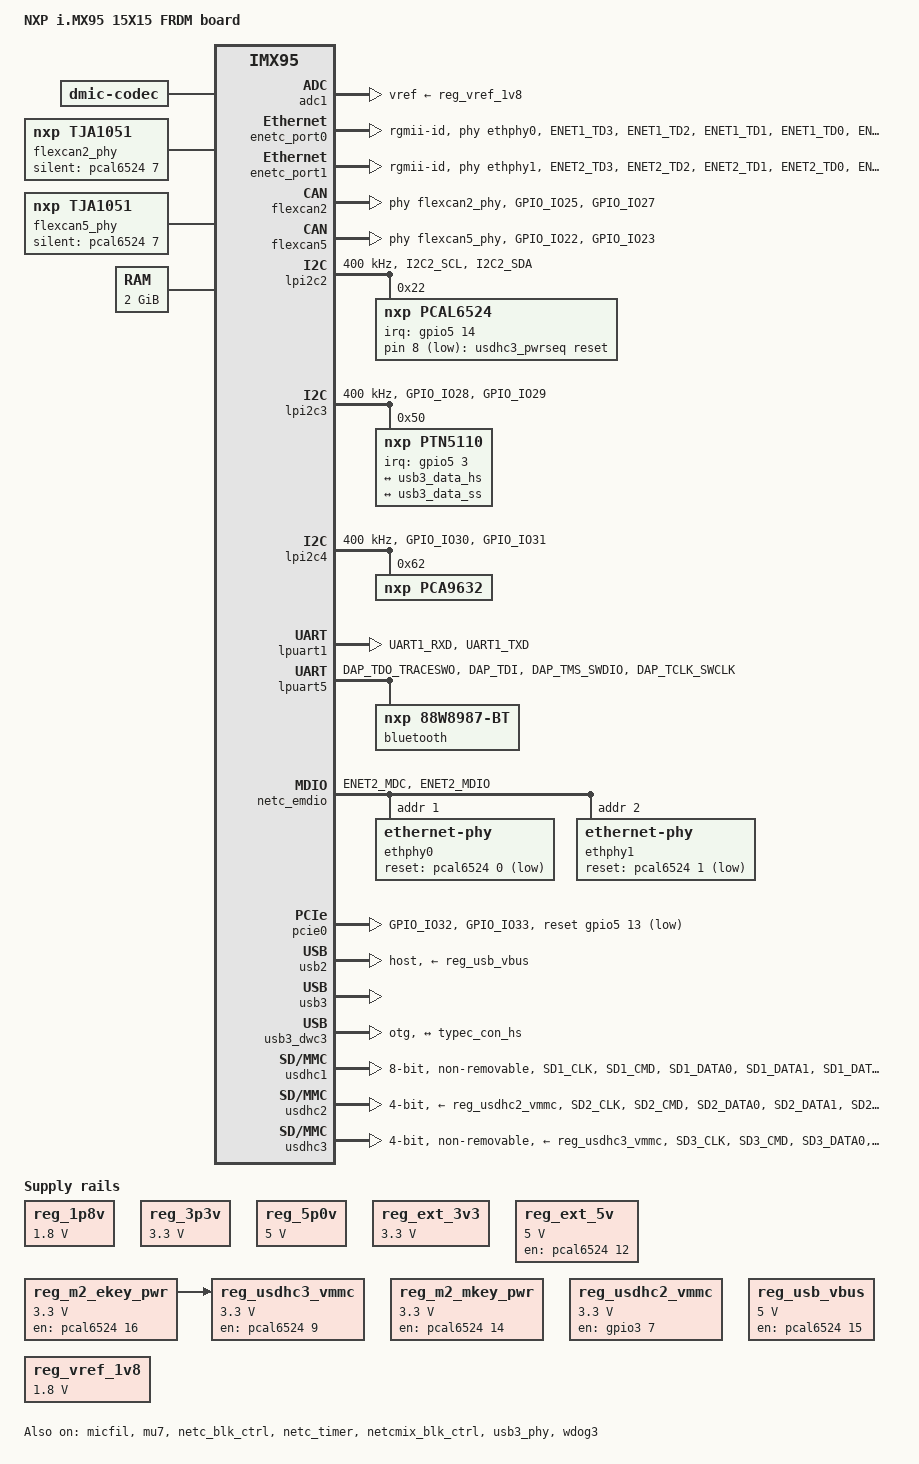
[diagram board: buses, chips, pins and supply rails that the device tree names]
// SPDX-License-Identifier: (GPL-2.0+ OR MIT)
/*
 * Copyright 2025 NXP
 */

/dts-v1/;

#include <dt-bindings/leds/common.h>
#include <dt-bindings/phy/phy-imx8-pcie.h>
#include <dt-bindings/pwm/pwm.h>
#include <dt-bindings/usb/pd.h>
#include "imx95.dtsi"

#define BRD_SM_CTRL_SD3_WAKE		0x8000	/*!< PCAL6408A-0 */
#define BRD_SM_CTRL_PCIE1_WAKE		0x8001	/*!< PCAL6408A-4 */
#define BRD_SM_CTRL_BT_WAKE		0x8002	/*!< PCAL6408A-5 */
#define BRD_SM_CTRL_PCIE2_WAKE		0x8003	/*!< PCAL6408A-6 */
#define BRD_SM_CTRL_BUTTON		0x8004	/*!< PCAL6408A-7 */

/ {
	compatible = "fsl,imx95-15x15-frdm", "fsl,imx95";
	model = "NXP i.MX95 15X15 FRDM board";

	aliases {
		ethernet0 = &enetc_port0;
		ethernet1 = &enetc_port1;
		gpio0 = &gpio1;
		gpio1 = &gpio2;
		gpio2 = &gpio3;
		gpio3 = &gpio4;
		gpio4 = &gpio5;
		i2c0 = &lpi2c1;
		i2c1 = &lpi2c2;
		i2c2 = &lpi2c3;
		i2c3 = &lpi2c4;
		i2c4 = &lpi2c5;
		i2c5 = &lpi2c6;
		i2c6 = &lpi2c7;
		i2c7 = &lpi2c8;
		mmc0 = &usdhc1;
		mmc1 = &usdhc2;
		mmc2 = &usdhc3;
		serial0 = &lpuart1;
		serial4 = &lpuart5;
	};

	chosen {
		#address-cells = <2>;
		#size-cells = <2>;
		stdout-path = &lpuart1;
	};

	dmic: dmic {
		compatible = "dmic-codec";
		#sound-dai-cells = <0>;
		num-channels = <2>;
	};

	flexcan2_phy: can-phy {
		compatible = "nxp,tja1051";
		#phy-cells = <0>;
		max-bitrate = <5000000>;
		/*
		 * Shared SILENT GPIO: CAN PHYs enter silent mode
		 * together (hardware design).
		 */
		silent-gpios = <&pcal6524 7 GPIO_ACTIVE_HIGH>;
	};

	flexcan5_phy: can-phy {
		compatible = "nxp,tja1051";
		#phy-cells = <0>;
		max-bitrate = <5000000>;
		silent-gpios = <&pcal6524 7 GPIO_ACTIVE_HIGH>;
	};

	reg_1p8v: regulator-1p8v {
		compatible = "regulator-fixed";
		regulator-max-microvolt = <1800000>;
		regulator-min-microvolt = <1800000>;
		regulator-name = "+V1.8_SW";
	};

	reg_3p3v: regulator-3p3v {
		compatible = "regulator-fixed";
		regulator-max-microvolt = <3300000>;
		regulator-min-microvolt = <3300000>;
		regulator-name = "+V3.3_SW";
	};

	reg_5p0v: regulator-5p0v {
		compatible = "regulator-fixed";
		regulator-max-microvolt = <5000000>;
		regulator-min-microvolt = <5000000>;
		regulator-name = "+V5.0_SW";
	};

	reg_ext_3v3: regulator-ext-3v3 {
		compatible = "regulator-fixed";
		regulator-max-microvolt = <3300000>;
		regulator-min-microvolt = <3300000>;
		regulator-name = "VCCEXT_3V3";
	};

	reg_ext_5v: regulator-ext-5v {
		compatible = "regulator-fixed";
		regulator-always-on;
		regulator-max-microvolt = <5000000>;
		regulator-min-microvolt = <5000000>;
		regulator-name = "VCCEXT_5V";
		gpio = <&pcal6524 12 GPIO_ACTIVE_HIGH>;
		enable-active-high;
	};

	reg_m2_ekey_pwr: regulator-m2-pwr {
		compatible = "regulator-fixed";
		regulator-max-microvolt = <3300000>;
		regulator-min-microvolt = <3300000>;
		regulator-name = "M.2-power-ekey";
		gpio = <&pcal6524 16 GPIO_ACTIVE_HIGH>;
		enable-active-high;
	};

	reg_m2_mkey_pwr: regulator-m2-mkey-pwr {
		compatible = "regulator-fixed";
		regulator-max-microvolt = <3300000>;
		regulator-min-microvolt = <3300000>;
		regulator-name = "M.2-mkey-power";
		gpio = <&pcal6524 14 GPIO_ACTIVE_HIGH>;
		enable-active-high;
	};

	reg_usdhc2_vmmc: regulator-usdhc2 {
		compatible = "regulator-fixed";
		off-on-delay-us = <12000>;
		pinctrl-0 = <&pinctrl_reg_usdhc2_vmmc>;
		pinctrl-names = "default";
		regulator-max-microvolt = <3300000>;
		regulator-min-microvolt = <3300000>;
		regulator-name = "VDD_SD2_3V3";
		gpio = <&gpio3 7 GPIO_ACTIVE_HIGH>;
		enable-active-high;
	};

	reg_usdhc3_vmmc: regulator-usdhc3 {
		compatible = "regulator-fixed";
		regulator-max-microvolt = <3300000>;
		regulator-min-microvolt = <3300000>;
		regulator-name = "WLAN_EN";
		vin-supply = <&reg_m2_ekey_pwr>;
		gpio = <&pcal6524 9 GPIO_ACTIVE_HIGH>;
		enable-active-high;
		/*
		 * IW612 wifi chip needs more delay than other wifi chips to complete
		 * the host interface initialization after power up, otherwise the
		 * internal state of IW612 may be unstable, resulting in the failure of
		 * the SDIO3.0 switch voltage.
		 */
		startup-delay-us = <20000>;
	};

	reg_usb_vbus: regulator-vbus {
		compatible = "regulator-fixed";
		regulator-max-microvolt = <5000000>;
		regulator-min-microvolt = <5000000>;
		regulator-name = "USB_VBUS";
		gpio = <&pcal6524 15 GPIO_ACTIVE_HIGH>;
		enable-active-high;
	};

	reg_vref_1v8: regulator-adc-vref {
		compatible = "regulator-fixed";
		regulator-max-microvolt = <1800000>;
		regulator-min-microvolt = <1800000>;
		regulator-name = "vref_1v8";
	};

	reserved-memory {
		ranges;
		#address-cells = <2>;
		#size-cells = <2>;

		linux_cma: linux,cma {
			compatible = "shared-dma-pool";
			alloc-ranges = <0 0x80000000 0 0x7F000000>;
			reusable;
			size = <0 0x3c000000>;
			linux,cma-default;
		};

		vdev0vring0: memory@88000000 {
			reg = <0 0x88000000 0 0x8000>;
			no-map;
		};

		vdev0vring1: memory@88008000 {
			reg = <0 0x88008000 0 0x8000>;
			no-map;
		};

		vdev1vring0: memory@88010000 {
			reg = <0 0x88010000 0 0x8000>;
			no-map;
		};

		vdev1vring1: memory@88018000 {
			reg = <0 0x88018000 0 0x8000>;
			no-map;
		};

		vdevbuffer: memory@88020000 {
			compatible = "shared-dma-pool";
			reg = <0 0x88020000 0 0x100000>;
			no-map;
		};

		rsc_table: memory@88220000 {
			reg = <0 0x88220000 0 0x1000>;
			no-map;
		};

		vpu_boot: memory@a0000000 {
			reg = <0 0xa0000000 0 0x100000>;
			no-map;
		};
	};

	sound-micfil {
		compatible = "fsl,imx-audio-card";
		model = "micfil-audio";

		pri-dai-link {
			link-name = "micfil hifi";
			format = "i2s";

			cpu {
				sound-dai = <&micfil>;
			};

			codec {
				sound-dai = <&dmic>;
			};
		};
	};

	usdhc3_pwrseq: usdhc3-pwrseq {
		compatible = "mmc-pwrseq-simple";
		reset-gpios = <&pcal6524 8 GPIO_ACTIVE_LOW>;
	};

	memory@80000000 {
		reg = <0x0 0x80000000 0 0x80000000>;
		device_type = "memory";
	};
};

&adc1 {
	vref-supply = <&reg_vref_1v8>;
	status = "okay";
};

&enetc_port0 {
	phy-handle = <&ethphy0>;
	phy-mode = "rgmii-id";
	pinctrl-0 = <&pinctrl_enetc0>;
	pinctrl-names = "default";
	status = "okay";
};

&enetc_port1 {
	phy-handle = <&ethphy1>;
	phy-mode = "rgmii-id";
	pinctrl-0 = <&pinctrl_enetc1>;
	pinctrl-names = "default";
	status = "okay";
};

&flexcan2 {
	pinctrl-0 = <&pinctrl_flexcan2>;
	pinctrl-names = "default";
	phys = <&flexcan2_phy>;
	status = "okay";
};

&flexcan5 {
	pinctrl-0 = <&pinctrl_flexcan5>;
	pinctrl-names = "default";
	phys = <&flexcan5_phy>;
	status = "okay";
};

&lpi2c2 {
	clock-frequency = <400000>;
	pinctrl-0 = <&pinctrl_lpi2c2>;
	pinctrl-names = "default";
	status = "okay";

	pcal6524: gpio@22 {
		compatible = "nxp,pcal6524";
		reg = <0x22>;
		#interrupt-cells = <2>;
		interrupt-controller;
		interrupt-parent = <&gpio5>;
		interrupts = <14 IRQ_TYPE_LEVEL_LOW>;
		#gpio-cells = <2>;
		gpio-controller;
		pinctrl-0 = <&pinctrl_pcal6524>;
		pinctrl-names = "default";
		gpio-line-names = "ENET1 PHY reset",
				  "ENET2 PHY reset",
				  "SPI3/GPIO select",
				  "UART3/GPIO select",
				  "CAN2&5/GPIO select",
				  "PWM/GPIO select",
				  "Watch dog enable",
				  "CAN1&2&5 silent",
				  "SDIO_nRST",
				  "WL_nDISABLE1",
				  "WL_nDISABLE2",
				  "M.2 Mkey NC06",
				  "EXT_5V0_PWR_EN",
				  "EXT_3V3_PWR_EN",
				  "Mkey power control",
				  "USB2 power control",
				  "Ekey power control",
				  "MIPI-DSICSI reset",
				  "MIPI-DSI IO2",
				  "MIPI-CSI reset",
				  "LVDS TP reset",
				  "LVDS BL enable",
				  "LVDS BL power enable",
				  "IT6263 reset";

		lpspi-gpio-sel-hog {
			gpio-hog;
			gpios = <2 GPIO_ACTIVE_HIGH>;
			output-low;
		};

		lpuart-gpio-sel-hog {
			gpio-hog;
			gpios = <3 GPIO_ACTIVE_HIGH>;
			output-low;
		};

		can-gpio-sel-hog {
			gpio-hog;
			gpios = <4 GPIO_ACTIVE_HIGH>;
			output-low;
		};

		pwm-gpio-sel-hog {
			gpio-hog;
			gpios = <5 GPIO_ACTIVE_HIGH>;
			output-high;
		};
	};
};

&lpi2c3 {
	clock-frequency = <400000>;
	pinctrl-0 = <&pinctrl_lpi2c3>;
	pinctrl-names = "default";
	status = "okay";

	ptn5110: tcpc@50 {
		compatible = "nxp,ptn5110", "tcpci";
		reg = <0x50>;
		interrupt-parent = <&gpio5>;
		interrupts = <3 IRQ_TYPE_LEVEL_LOW>;
		pinctrl-0 = <&pinctrl_ptn5110>;
		pinctrl-names = "default";

		typec_con: connector {
			compatible = "usb-c-connector";
			data-role = "dual";
			label = "USB-C";
			op-sink-microwatt = <15000000>;
			power-role = "dual";
			self-powered;
			sink-pdos = <PDO_FIXED(5000, 3000, PDO_FIXED_USB_COMM)
				     PDO_VAR(5000, 20000, 3000)>;
			source-pdos = <PDO_FIXED(5000, 3000, PDO_FIXED_USB_COMM)>;
			try-power-role = "sink";

			ports {
				#address-cells = <1>;
				#size-cells = <0>;

				port@0 {
					reg = <0>;

					typec_con_hs: endpoint {
						remote-endpoint = <&usb3_data_hs>;
					};
				};

				port@1 {
					reg = <1>;

					typec_con_ss: endpoint {
						remote-endpoint = <&usb3_data_ss>;
					};
				};
			};
		};
	};
};

&lpi2c4 {
	clock-frequency = <400000>;
	pinctrl-0 = <&pinctrl_lpi2c4>;
	pinctrl-names = "default";
	status = "okay";

	pca9632: led-controller@62 {
		compatible = "nxp,pca9632";
		reg = <0x62>;
		#address-cells = <1>;
		#size-cells = <0>;
		nxp,inverted-out;

		led_backlight0: led@0 {
			reg = <0>;
			color = <LED_COLOR_ID_WHITE>;
			function = LED_FUNCTION_BACKLIGHT;
			function-enumerator = <0>;
		};

		led_backlight1: led@1 {
			reg = <1>;
			color = <LED_COLOR_ID_WHITE>;
			function = LED_FUNCTION_BACKLIGHT;
			function-enumerator = <1>;
		};
	};
};

&lpuart1 {
	pinctrl-0 = <&pinctrl_uart1>;
	pinctrl-names = "default";
	status = "okay";
};

&lpuart5 {
	pinctrl-0 = <&pinctrl_uart5>;
	pinctrl-names = "default";
	status = "okay";

	bluetooth {
		compatible = "nxp,88w8987-bt";
	};
};

&micfil {
	assigned-clocks = <&scmi_clk IMX95_CLK_AUDIOPLL1_VCO>,
			  <&scmi_clk IMX95_CLK_AUDIOPLL2_VCO>,
			  <&scmi_clk IMX95_CLK_AUDIOPLL1>,
			  <&scmi_clk IMX95_CLK_AUDIOPLL2>,
			  <&scmi_clk IMX95_CLK_PDM>;
	assigned-clock-parents = <0>, <0>, <0>, <0>,
				 <&scmi_clk IMX95_CLK_AUDIOPLL1>;
	assigned-clock-rates = <3932160000>,
			       <3612672000>, <393216000>,
			       <361267200>, <49152000>;
	#sound-dai-cells = <0>;
	pinctrl-0 = <&pinctrl_pdm>;
	pinctrl-names = "default";
	status = "okay";
};

&mu7 {
	status = "okay";
};

&netc_blk_ctrl {
	status = "okay";
};

/* Configure MSI and IOMMU mappings specific to the i.MX95 15x15 FRDM board. */
&netc_bus0 {
	msi-map = <0x0 &its 0x60 0x1>,	//ENETC0 PF
		  <0x10 &its 0x61 0x1>, //ENETC0 VF0
		  <0x20 &its 0x62 0x1>, //ENETC0 VF1
		  <0x40 &its 0x63 0x1>, //ENETC1 PF
		  <0x50 &its 0x65 0x1>, //ENETC1 VF0
		  <0x60 &its 0x66 0x1>, //ENETC1 VF1
		  <0x80 &its 0x64 0x1>, //ENETC2 PF
		  <0xc0 &its 0x67 0x1>; //NETC Timer
	iommu-map = <0x0 &smmu 0x20 0x1>,
		    <0x10 &smmu 0x21 0x1>,
		    <0x20 &smmu 0x22 0x1>,
		    <0x40 &smmu 0x23 0x1>,
		    <0x50 &smmu 0x25 0x1>,
		    <0x60 &smmu 0x26 0x1>,
		    <0x80 &smmu 0x24 0x1>,
		    <0xc0 &smmu 0x27 0x1>;
};

&netc_emdio {
	pinctrl-0 = <&pinctrl_emdio>;
	pinctrl-names = "default";
	status = "okay";

	ethphy0: ethernet-phy@1 {
		reg = <1>;
		reset-assert-us = <10000>;
		reset-deassert-us = <80000>;
		reset-gpios = <&pcal6524 0 GPIO_ACTIVE_LOW>;
	};

	ethphy1: ethernet-phy@2 {
		reg = <2>;
		reset-assert-us = <10000>;
		reset-deassert-us = <80000>;
		reset-gpios = <&pcal6524 1 GPIO_ACTIVE_LOW>;
	};
};

&netc_timer {
	status = "okay";
};

&netcmix_blk_ctrl {
	status = "okay";
};

&pcie0 {
	pinctrl-0 = <&pinctrl_pcie0>;
	pinctrl-names = "default";
	reset-gpio = <&gpio5 13 GPIO_ACTIVE_LOW>;
	supports-clkreq;
	vpcie-supply = <&reg_m2_mkey_pwr>;
	status = "okay";
};

&scmi_iomuxc {
	pinctrl_emdio: emdiogrp {
		fsl,pins = <
			IMX95_PAD_ENET2_MDC__NETCMIX_TOP_NETC_MDC		0x50e
			IMX95_PAD_ENET2_MDIO__NETCMIX_TOP_NETC_MDIO		0x90e
		>;
	};

	pinctrl_enetc0: enetc0grp {
		fsl,pins = <
			IMX95_PAD_ENET1_TD3__NETCMIX_TOP_ETH0_RGMII_TD3		0x50e
			IMX95_PAD_ENET1_TD2__NETCMIX_TOP_ETH0_RGMII_TD2		0x50e
			IMX95_PAD_ENET1_TD1__NETCMIX_TOP_ETH0_RGMII_TD1		0x50e
			IMX95_PAD_ENET1_TD0__NETCMIX_TOP_ETH0_RGMII_TD0		0x50e
			IMX95_PAD_ENET1_TX_CTL__NETCMIX_TOP_ETH0_RGMII_TX_CTL	0x57e
			IMX95_PAD_ENET1_TXC__NETCMIX_TOP_ETH0_RGMII_TX_CLK	0x58e
			IMX95_PAD_ENET1_RX_CTL__NETCMIX_TOP_ETH0_RGMII_RX_CTL	0x57e
			IMX95_PAD_ENET1_RXC__NETCMIX_TOP_ETH0_RGMII_RX_CLK	0x58e
			IMX95_PAD_ENET1_RD0__NETCMIX_TOP_ETH0_RGMII_RD0		0x57e
			IMX95_PAD_ENET1_RD1__NETCMIX_TOP_ETH0_RGMII_RD1		0x57e
			IMX95_PAD_ENET1_RD2__NETCMIX_TOP_ETH0_RGMII_RD2		0x57e
			IMX95_PAD_ENET1_RD3__NETCMIX_TOP_ETH0_RGMII_RD3		0x57e
		>;
	};

	pinctrl_enetc1: enetc1grp {
		fsl,pins = <
			IMX95_PAD_ENET2_TD3__NETCMIX_TOP_ETH1_RGMII_TD3		0x50e
			IMX95_PAD_ENET2_TD2__NETCMIX_TOP_ETH1_RGMII_TD2		0x50e
			IMX95_PAD_ENET2_TD1__NETCMIX_TOP_ETH1_RGMII_TD1		0x50e
			IMX95_PAD_ENET2_TD0__NETCMIX_TOP_ETH1_RGMII_TD0		0x50e
			IMX95_PAD_ENET2_TX_CTL__NETCMIX_TOP_ETH1_RGMII_TX_CTL	0x57e
			IMX95_PAD_ENET2_TXC__NETCMIX_TOP_ETH1_RGMII_TX_CLK	0x58e
			IMX95_PAD_ENET2_RX_CTL__NETCMIX_TOP_ETH1_RGMII_RX_CTL	0x57e
			IMX95_PAD_ENET2_RXC__NETCMIX_TOP_ETH1_RGMII_RX_CLK	0x58e
			IMX95_PAD_ENET2_RD0__NETCMIX_TOP_ETH1_RGMII_RD0		0x57e
			IMX95_PAD_ENET2_RD1__NETCMIX_TOP_ETH1_RGMII_RD1		0x57e
			IMX95_PAD_ENET2_RD2__NETCMIX_TOP_ETH1_RGMII_RD2		0x57e
			IMX95_PAD_ENET2_RD3__NETCMIX_TOP_ETH1_RGMII_RD3		0x57e
		>;
	};

	pinctrl_flexcan2: flexcan2grp {
		fsl,pins = <
			IMX95_PAD_GPIO_IO25__CAN2_TX				0x39e
			IMX95_PAD_GPIO_IO27__CAN2_RX				0x39e
		>;
	};

	pinctrl_flexcan5: flexcan5grp {
		fsl,pins = <
			IMX95_PAD_GPIO_IO22__CAN5_TX				0x39e
			IMX95_PAD_GPIO_IO23__CAN5_RX				0x39e
		>;
	};

	pinctrl_lpi2c1: lpi2c1grp {
		fsl,pins = <
			IMX95_PAD_I2C1_SCL__AONMIX_TOP_LPI2C1_SCL		0x40000b9e
			IMX95_PAD_I2C1_SDA__AONMIX_TOP_LPI2C1_SDA		0x40000b9e
		>;
	};

	pinctrl_lpi2c2: lpi2c2grp {
		fsl,pins = <
			IMX95_PAD_I2C2_SCL__AONMIX_TOP_LPI2C2_SCL		0x40000b9e
			IMX95_PAD_I2C2_SDA__AONMIX_TOP_LPI2C2_SDA		0x40000b9e
		>;
	};

	pinctrl_lpi2c3: lpi2c3grp {
		fsl,pins = <
			IMX95_PAD_GPIO_IO28__LPI2C3_SDA				0x40000b9e
			IMX95_PAD_GPIO_IO29__LPI2C3_SCL				0x40000b9e
		>;
	};

	pinctrl_lpi2c4: lpi2c4grp {
		fsl,pins = <
			IMX95_PAD_GPIO_IO30__LPI2C4_SDA				0x40000b9e
			IMX95_PAD_GPIO_IO31__LPI2C4_SCL				0x40000b9e
		>;
	};

	pinctrl_pcal6524: pcal6524grp {
		fsl,pins = <
			IMX95_PAD_GPIO_IO34__GPIO5_IO_BIT14			0x31e
		>;
	};

	pinctrl_pcie0: pcie0grp {
		fsl,pins = <
			IMX95_PAD_GPIO_IO32__HSIOMIX_TOP_PCIE1_CLKREQ_B		0x40000b1e
			IMX95_PAD_GPIO_IO33__GPIO5_IO_BIT13			0x31e
		>;
	};

	pinctrl_pdm: pdmgrp {
		fsl,pins = <
			IMX95_PAD_PDM_CLK__AONMIX_TOP_PDM_CLK				0x31e
			IMX95_PAD_PDM_BIT_STREAM0__AONMIX_TOP_PDM_BIT_STREAM_BIT0	0x31e
		>;
	};

	pinctrl_ptn5110: ptn5110grp {
		fsl,pins = <
			IMX95_PAD_XSPI1_DATA3__GPIO5_IO_BIT3			0x31e
		>;
	};

	pinctrl_reg_usdhc2_vmmc: regusdhc2vmmcgrp {
		fsl,pins = <
			IMX95_PAD_SD2_RESET_B__GPIO3_IO_BIT7			0x31e
		>;
	};

	pinctrl_uart1: uart1grp {
		fsl,pins = <
			IMX95_PAD_UART1_RXD__AONMIX_TOP_LPUART1_RX		0x31e
			IMX95_PAD_UART1_TXD__AONMIX_TOP_LPUART1_TX		0x31e
		>;
	};

	pinctrl_uart5: uart5grp {
		fsl,pins = <
			IMX95_PAD_DAP_TDO_TRACESWO__LPUART5_TX			0x31e
			IMX95_PAD_DAP_TDI__LPUART5_RX				0x31e
			IMX95_PAD_DAP_TMS_SWDIO__LPUART5_RTS_B			0x31e
			IMX95_PAD_DAP_TCLK_SWCLK__LPUART5_CTS_B			0x31e
		>;
	};

	pinctrl_usdhc1: usdhc1grp {
		fsl,pins = <
			IMX95_PAD_SD1_CLK__USDHC1_CLK				0x158e
			IMX95_PAD_SD1_CMD__USDHC1_CMD				0x138e
			IMX95_PAD_SD1_DATA0__USDHC1_DATA0			0x138e
			IMX95_PAD_SD1_DATA1__USDHC1_DATA1			0x138e
			IMX95_PAD_SD1_DATA2__USDHC1_DATA2			0x138e
			IMX95_PAD_SD1_DATA3__USDHC1_DATA3			0x138e
			IMX95_PAD_SD1_DATA4__USDHC1_DATA4			0x138e
			IMX95_PAD_SD1_DATA5__USDHC1_DATA5			0x138e
			IMX95_PAD_SD1_DATA6__USDHC1_DATA6			0x138e
			IMX95_PAD_SD1_DATA7__USDHC1_DATA7			0x138e
			IMX95_PAD_SD1_STROBE__USDHC1_STROBE			0x158e
		>;
	};

	pinctrl_usdhc1_100mhz: usdhc1-100mhzgrp {
		fsl,pins = <
			IMX95_PAD_SD1_CLK__USDHC1_CLK				0x158e
			IMX95_PAD_SD1_CMD__USDHC1_CMD				0x138e
			IMX95_PAD_SD1_DATA0__USDHC1_DATA0			0x138e
			IMX95_PAD_SD1_DATA1__USDHC1_DATA1			0x138e
			IMX95_PAD_SD1_DATA2__USDHC1_DATA2			0x138e
			IMX95_PAD_SD1_DATA3__USDHC1_DATA3			0x138e
			IMX95_PAD_SD1_DATA4__USDHC1_DATA4			0x138e
			IMX95_PAD_SD1_DATA5__USDHC1_DATA5			0x138e
			IMX95_PAD_SD1_DATA6__USDHC1_DATA6			0x138e
			IMX95_PAD_SD1_DATA7__USDHC1_DATA7			0x138e
			IMX95_PAD_SD1_STROBE__USDHC1_STROBE			0x158e
		>;
	};

	pinctrl_usdhc1_200mhz: usdhc1-200mhzgrp {
		fsl,pins = <
			IMX95_PAD_SD1_CLK__USDHC1_CLK				0x15fe
			IMX95_PAD_SD1_CMD__USDHC1_CMD				0x13fe
			IMX95_PAD_SD1_DATA0__USDHC1_DATA0			0x13fe
			IMX95_PAD_SD1_DATA1__USDHC1_DATA1			0x13fe
			IMX95_PAD_SD1_DATA2__USDHC1_DATA2			0x13fe
			IMX95_PAD_SD1_DATA3__USDHC1_DATA3			0x13fe
			IMX95_PAD_SD1_DATA4__USDHC1_DATA4			0x13fe
			IMX95_PAD_SD1_DATA5__USDHC1_DATA5			0x13fe
			IMX95_PAD_SD1_DATA6__USDHC1_DATA6			0x13fe
			IMX95_PAD_SD1_DATA7__USDHC1_DATA7			0x13fe
			IMX95_PAD_SD1_STROBE__USDHC1_STROBE			0x15fe
		>;
	};

	pinctrl_usdhc2_gpio: usdhc2gpiogrp {
		fsl,pins = <
			IMX95_PAD_SD2_CD_B__GPIO3_IO_BIT0			0x31e
		>;
	};

	pinctrl_usdhc2: usdhc2grp {
		fsl,pins = <
			IMX95_PAD_SD2_CLK__USDHC2_CLK				0x158e
			IMX95_PAD_SD2_CMD__USDHC2_CMD				0x138e
			IMX95_PAD_SD2_DATA0__USDHC2_DATA0			0x138e
			IMX95_PAD_SD2_DATA1__USDHC2_DATA1			0x138e
			IMX95_PAD_SD2_DATA2__USDHC2_DATA2			0x138e
			IMX95_PAD_SD2_DATA3__USDHC2_DATA3			0x138e
			IMX95_PAD_SD2_VSELECT__USDHC2_VSELECT			0x51e
		>;
	};

	pinctrl_usdhc2_100mhz: usdhc2-100mhzgrp {
		fsl,pins = <
			IMX95_PAD_SD2_CLK__USDHC2_CLK				0x158e
			IMX95_PAD_SD2_CMD__USDHC2_CMD				0x138e
			IMX95_PAD_SD2_DATA0__USDHC2_DATA0			0x138e
			IMX95_PAD_SD2_DATA1__USDHC2_DATA1			0x138e
			IMX95_PAD_SD2_DATA2__USDHC2_DATA2			0x138e
			IMX95_PAD_SD2_DATA3__USDHC2_DATA3			0x138e
			IMX95_PAD_SD2_VSELECT__USDHC2_VSELECT			0x51e
		>;
	};

	pinctrl_usdhc2_200mhz: usdhc2-200mhzgrp {
		fsl,pins = <
			IMX95_PAD_SD2_CLK__USDHC2_CLK				0x158e
			IMX95_PAD_SD2_CMD__USDHC2_CMD				0x138e
			IMX95_PAD_SD2_DATA0__USDHC2_DATA0			0x138e
			IMX95_PAD_SD2_DATA1__USDHC2_DATA1			0x138e
			IMX95_PAD_SD2_DATA2__USDHC2_DATA2			0x138e
			IMX95_PAD_SD2_DATA3__USDHC2_DATA3			0x138e
			IMX95_PAD_SD2_VSELECT__USDHC2_VSELECT			0x51e
		>;
	};

	pinctrl_usdhc3: usdhc3grp {
		fsl,pins = <
			IMX95_PAD_SD3_CLK__USDHC3_CLK				0x158e
			IMX95_PAD_SD3_CMD__USDHC3_CMD				0x138e
			IMX95_PAD_SD3_DATA0__USDHC3_DATA0			0x138e
			IMX95_PAD_SD3_DATA1__USDHC3_DATA1			0x138e
			IMX95_PAD_SD3_DATA2__USDHC3_DATA2			0x138e
			IMX95_PAD_SD3_DATA3__USDHC3_DATA3			0x138e
		>;
	};

	pinctrl_usdhc3_100mhz: usdhc3-100mhzgrp {
		fsl,pins = <
			IMX95_PAD_SD3_CLK__USDHC3_CLK				0x158e
			IMX95_PAD_SD3_CMD__USDHC3_CMD				0x138e
			IMX95_PAD_SD3_DATA0__USDHC3_DATA0			0x138e
			IMX95_PAD_SD3_DATA1__USDHC3_DATA1			0x138e
			IMX95_PAD_SD3_DATA2__USDHC3_DATA2			0x138e
			IMX95_PAD_SD3_DATA3__USDHC3_DATA3			0x138e
		>;
	};

	pinctrl_usdhc3_200mhz: usdhc3-200mhzgrp {
		fsl,pins = <
			IMX95_PAD_SD3_CLK__USDHC3_CLK				0x15fe
			IMX95_PAD_SD3_CMD__USDHC3_CMD				0x13fe
			IMX95_PAD_SD3_DATA0__USDHC3_DATA0			0x13fe
			IMX95_PAD_SD3_DATA1__USDHC3_DATA1			0x13fe
			IMX95_PAD_SD3_DATA2__USDHC3_DATA2			0x13fe
			IMX95_PAD_SD3_DATA3__USDHC3_DATA3			0x13fe
		>;
	};
};

&scmi_misc {
	nxp,ctrl-ids = <BRD_SM_CTRL_SD3_WAKE		1
			BRD_SM_CTRL_PCIE1_WAKE		1
			BRD_SM_CTRL_BT_WAKE		1
			BRD_SM_CTRL_PCIE2_WAKE		1
			BRD_SM_CTRL_BUTTON		1>;
};

&thermal_zones {
	pf09-thermal {
		polling-delay = <2000>;
		polling-delay-passive = <250>;
		thermal-sensors = <&scmi_sensor 2>;

		trips {
			pf09_alert: trip0 {
				hysteresis = <2000>;
				temperature = <140000>;
				type = "passive";
			};

			pf09_crit: trip1 {
				hysteresis = <2000>;
				temperature = <155000>;
				type = "critical";
			};
		};
	};

	pf53arm-thermal {
		polling-delay = <2000>;
		polling-delay-passive = <250>;
		thermal-sensors = <&scmi_sensor 4>;

		cooling-maps {
			map0 {
				cooling-device = <&A55_0 THERMAL_NO_LIMIT THERMAL_NO_LIMIT>,
					<&A55_1 THERMAL_NO_LIMIT THERMAL_NO_LIMIT>,
					<&A55_2 THERMAL_NO_LIMIT THERMAL_NO_LIMIT>,
					<&A55_3 THERMAL_NO_LIMIT THERMAL_NO_LIMIT>,
					<&A55_4 THERMAL_NO_LIMIT THERMAL_NO_LIMIT>,
					<&A55_5 THERMAL_NO_LIMIT THERMAL_NO_LIMIT>;
				trip = <&pf5301_alert>;
			};
		};

		trips {
			pf5301_alert: trip0 {
				hysteresis = <2000>;
				temperature = <140000>;
				type = "passive";
			};

			pf5301_crit: trip1 {
				hysteresis = <2000>;
				temperature = <155000>;
				type = "critical";
			};
		};
	};

	pf53soc-thermal {
		polling-delay = <2000>;
		polling-delay-passive = <250>;
		thermal-sensors = <&scmi_sensor 3>;

		trips {
			pf5302_alert: trip0 {
				hysteresis = <2000>;
				temperature = <140000>;
				type = "passive";
			};

			pf5302_crit: trip1 {
				hysteresis = <2000>;
				temperature = <155000>;
				type = "critical";
			};
		};
	};
};

&usb2 {
	disable-over-current;
	dr_mode = "host";
	vbus-supply = <&reg_usb_vbus>;
	status = "okay";
};

&usb3 {
	status = "okay";
};

&usb3_dwc3 {
	adp-disable;
	dr_mode = "otg";
	hnp-disable;
	role-switch-default-mode = "peripheral";
	srp-disable;
	usb-role-switch;
	snps,dis-u1-entry-quirk;
	snps,dis-u2-entry-quirk;
	status = "okay";

	port {
		usb3_data_hs: endpoint {
			remote-endpoint = <&typec_con_hs>;
		};
	};
};

&usb3_phy {
	orientation-switch;
	fsl,phy-pcs-tx-deemph-3p5db-attenuation-db = <17>;
	fsl,phy-pcs-tx-swing-full-percent = <100>;
	fsl,phy-tx-preemp-amp-tune-microamp = <600>;
	fsl,phy-tx-vboost-level-microvolt = <1156>;
	fsl,phy-tx-vref-tune-percent = <100>;
	status = "okay";

	port {
		usb3_data_ss: endpoint {
			remote-endpoint = <&typec_con_ss>;
		};
	};
};

&usdhc1 {
	bus-width = <8>;
	non-removable;
	no-sd;
	no-sdio;
	pinctrl-0 = <&pinctrl_usdhc1>;
	pinctrl-1 = <&pinctrl_usdhc1_100mhz>;
	pinctrl-2 = <&pinctrl_usdhc1_200mhz>;
	pinctrl-3 = <&pinctrl_usdhc1>;
	pinctrl-names = "default", "state_100mhz", "state_200mhz", "sleep";
	fsl,tuning-step = <1>;
	status = "okay";
};

&usdhc2 {
	bus-width = <4>;
	cd-gpios = <&gpio3 00 GPIO_ACTIVE_LOW>;
	pinctrl-0 = <&pinctrl_usdhc2>, <&pinctrl_usdhc2_gpio>;
	pinctrl-1 = <&pinctrl_usdhc2_100mhz>, <&pinctrl_usdhc2_gpio>;
	pinctrl-2 = <&pinctrl_usdhc2_200mhz>, <&pinctrl_usdhc2_gpio>;
	pinctrl-3 = <&pinctrl_usdhc2>, <&pinctrl_usdhc2_gpio>;
	pinctrl-names = "default", "state_100mhz", "state_200mhz", "sleep";
	vmmc-supply = <&reg_usdhc2_vmmc>;
	fsl,tuning-step = <1>;
	status = "okay";
};

&usdhc3 {
	bus-width = <4>;
	keep-power-in-suspend;
	mmc-pwrseq = <&usdhc3_pwrseq>;
	non-removable;
	pinctrl-0 = <&pinctrl_usdhc3>;
	pinctrl-1 = <&pinctrl_usdhc3_100mhz>;
	pinctrl-2 = <&pinctrl_usdhc3_200mhz>;
	pinctrl-3 = <&pinctrl_usdhc3>;
	pinctrl-names = "default", "state_100mhz", "state_200mhz", "sleep";
	vmmc-supply = <&reg_usdhc3_vmmc>;
	wakeup-source;
	status = "okay";
};

&wdog3 {
	status = "okay";
};
